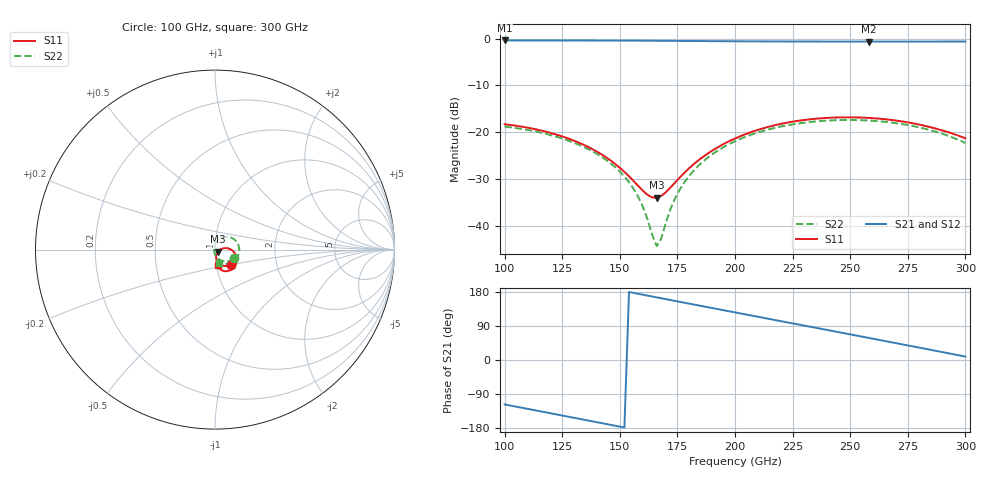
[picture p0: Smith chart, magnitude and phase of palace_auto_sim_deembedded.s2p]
! Created with skrf 1.11.0 (http://scikit-rf.org).
# GHz S DB R 50.0
!freq dBS11 angS11 dBS21 angS21 dBS12 angS12 dBS22 angS22
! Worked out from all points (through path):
!   101 points, 100 GHz to 300 GHz, reference 50 ohm
!   highest |S21| = -0.41 dB at 100 GHz (marker M1); lowest = -0.7 dB at 258 GHz (marker M2)
!   group delay of S21, straight-line fit = 3.24 ps
!   lowest |S11| = -33.9 dB at 166 GHz (marker M3), VSWR 1.04, Z = 51.7 - j1.15 ohm
!   |S11| at or under -10 dB: start of sweep to end of sweep
!   |S22| runs from -44.3 to -17.4 dB; largest |S21 - S12| = 1.1e-14
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100  -18.28 -44.1  -0.41 -117.3  -0.41 -117.3  -18.79 -24.4
118  -19.87 -62.8  -0.42 -138.3  -0.42 -138.3  -20.34 -42.4
134  -22.59 -76.8  -0.43 -157.1  -0.43 -157.1  -23.03 -59.6
146  -26.00 -82.5  -0.44 -171.2  -0.44 -171.2  -26.60 -74.2
154  -29.38 -78.8  -0.45 179.4  -0.45 179.4  -30.63 -86.8
158  -31.43 -71.2  -0.46 174.7  -0.46 174.7  -33.76 -96.3
160  -32.44 -64.7  -0.47 172.4  -0.47 172.4  -35.86 -103.3
164  -33.86 -45.4  -0.48 167.6  -0.48 167.6  -41.77 -133.5
166  -33.95 -33.6  -0.48 165.3  -0.48 165.3  -44.27 -171.4
168  -33.54 -22.3  -0.49 162.9  -0.49 162.9  -42.62 145.9
172  -31.76 -5.4  -0.50 158.2  -0.50 158.2  -36.35 109.8
174  -30.69 -0.1  -0.50 155.9  -0.50 155.9  -34.07 102.0
180  -27.70 7.7  -0.52 148.9  -0.52 148.9  -29.34 87.8
188  -24.58 8.2  -0.55 139.5  -0.55 139.5  -25.47 75.0
200  -21.31 1.2  -0.59 125.6  -0.59 125.6  -21.90 58.8
218  -18.41 -15.1  -0.62 104.8  -0.62 104.8  -18.97 36.2
234  -17.15 -31.1  -0.64 86.2  -0.64 86.2  -17.73 16.8
246  -16.81 -42.9  -0.65 72.3  -0.65 72.3  -17.38 2.3
258  -16.92 -54.2  -0.66 58.3  -0.66 58.3  -17.49 -12.4
268  -17.37 -62.9  -0.65 46.7  -0.65 46.7  -17.93 -25.1
284  -18.80 -74.7  -0.65 27.9  -0.65 27.9  -19.43 -47.0
300  -21.26 -80.6  -0.65 9.1  -0.65 9.1  -22.28 -73.1
